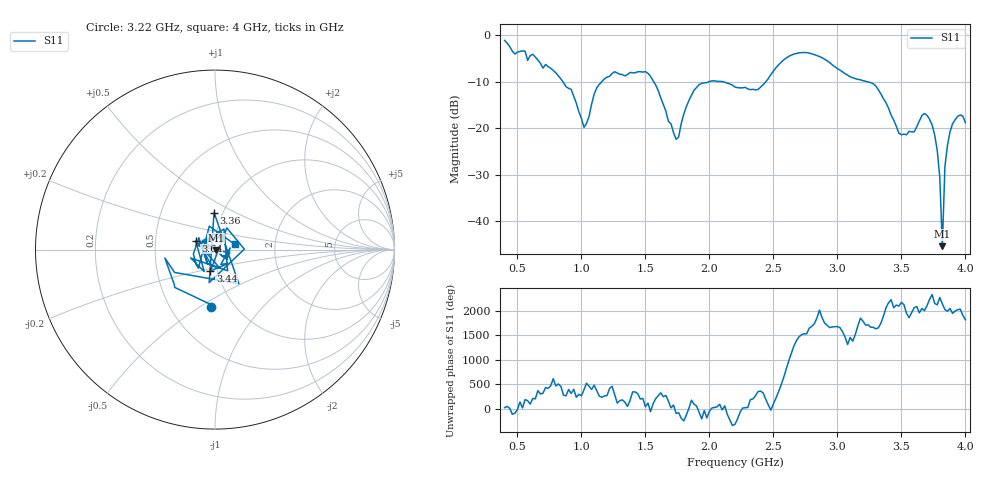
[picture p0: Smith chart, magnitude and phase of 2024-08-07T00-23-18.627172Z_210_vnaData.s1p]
!Created with skrf (http://scikit-rf.org).
# Hz S RI R 50.0
!freq ReS11 ImS11
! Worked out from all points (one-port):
!   181 points, 400 MHz to 4 GHz, reference 50 ohm
!   lowest |S11| = -45.3 dB at 3.82 GHz (marker M1), VSWR 1.01, Z = 50.5 - j0.224 ohm
!   |S11| at or under -10 dB: 1.565 GHz to 1.998 GHz (432.9 MHz wide, 24.3 % of centre); 2.101 GHz to 2.442 GHz (340.5 MHz wide, 15 % of centre); 3.23 GHz to end of sweep (the widest 3 of 4)
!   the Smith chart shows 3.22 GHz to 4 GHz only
!   S11 on the Smith chart (normalised r, x): 3.22 GHz: 0.79, -0.56; 3.36 GHz: 0.91, +0.39; 3.44 GHz: 0.92, -0.22; 3.64 GHz: 0.80, +0.08; 4 GHz: 1.25, +0.07
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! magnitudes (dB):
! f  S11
! 400 MHz  -1.2
! 860 MHz  -10.2
! 920 MHz  -11.7
! 1.02 GHz  -19.8
! 1.12 GHz  -11.3
! 1.3 GHz  -8.4
! 1.52 GHz  -8.2
! 1.76 GHz  -21.9
! 1.82 GHz  -15.4
! 1.92 GHz  -10.7
! 2.2 GHz  -11.2
! 2.38 GHz  -11.7
! 2.66 GHz  -4.1
! 3.1 GHz  -9.0
! 3.22 GHz  -9.9
! 3.36 GHz  -13.7
! 3.44 GHz  -18.3
! 3.48 GHz  -21.1
! 3.56 GHz  -20.7
! 3.64 GHz  -18.5
! 3.7 GHz  -17.2
! 3.76 GHz  -21.5
! 3.8 GHz  -30.6
! 3.82 GHz  -45.3
! 3.84 GHz  -28.3
! 3.86 GHz  -23.7
! 3.94 GHz  -17.4
! 4 GHz  -18.8
